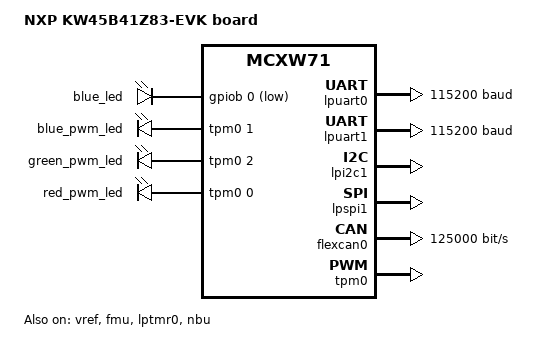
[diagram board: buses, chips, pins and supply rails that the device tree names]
/*
 * Copyright 2025 NXP
 * SPDX-License-Identifier: Apache-2.0
 */

/dts-v1/;

#include <nxp/nxp_mcxw71.dtsi>
#include "kw45b41z_evk-pinctrl.dtsi"

/ {
	model = "NXP KW45B41Z83-EVK board";
	compatible = "nxp,kw45";

	aliases {
		led0 = &blue_led;
		blue-pwm-led = &blue_pwm_led;
		green-pwm-led = &green_pwm_led;
		red-pwm-led = &red_pwm_led;
	};

	chosen {
		zephyr,flash = &flash;
		zephyr,flash-controller = &fmu;
		zephyr,code-partition = &slot0_partition;
		zephyr,sram = &stcm0;
		zephyr,console = &lpuart1;
		zephyr,shell-uart = &lpuart1;
		zephyr,uart-pipe = &lpuart0;
		zephyr,canbus = &flexcan0;
	};

	leds {
		compatible = "gpio-leds";
		blue_led: led {
			gpios = <&gpiob 0 GPIO_ACTIVE_LOW>;
		};
	};

	pwmleds {
		compatible = "pwm-leds";
		blue_pwm_led: pwm_led_0 {
			pwms = <&tpm0 1 PWM_USEC(200) PWM_POLARITY_NORMAL>;
		};
		green_pwm_led: pwm_led_1 {
			pwms = <&tpm0 2 PWM_USEC(200) PWM_POLARITY_NORMAL>;
		};
		red_pwm_led: pwm_led_2 {
			pwms = <&tpm0 0 PWM_USEC(200) PWM_POLARITY_NORMAL>;
		};
	};
};

&vref {
	status = "okay";
};

&gpiob {
	status = "okay";
};

&lpuart0 {
	current-speed = <115200>;
	status =  "okay";
	pinctrl-0 = <&pinmux_lpuart0>;
	pinctrl-names = "default";
};

&lpuart1 {
	current-speed = <115200>;
	status =  "okay";
	pinctrl-0 = <&pinmux_lpuart1>;
	pinctrl-names = "default";
};

&lpi2c1 {
	status = "okay";
	pinctrl-0 = <&pinmux_lpi2c1>;
	pinctrl-names = "default";
};

&lpspi1 {
	status = "okay";
	pinctrl-0 = <&pinmux_lpspi1>;
	pinctrl-names = "default";
};

&flexcan0 {
	status = "okay";
	bitrate = <125000>;
	pinctrl-0 = <&pinmux_flexcan>;
	pinctrl-names = "default";

	can-transceiver {
		max-bitrate = <420000000>;
	};
};

&flash {
	partitions {
		compatible = "fixed-partitions";
		#address-cells = <1>;
		#size-cells = <1>;

		boot_partition: partition@0 {
			reg = <0x0 DT_SIZE_K(64)>;
		};

		slot0_partition: partition@10000 {
			reg = <0x10000 DT_SIZE_K(416)>;
		};

		slot1_partition: partition@78000 {
			reg = <0x78000 DT_SIZE_K(416)>;
		};

		storage_partition: partition@e0000 {
			reg = <0xe0000 DT_SIZE_K(128)>;
		};
	};
};

&fmu {
	status = "okay";
};

&tpm0 {
	status = "okay";
	pinctrl-0 = <&pinmux_tpm0>;
	pinctrl-names = "default";
};

&lptmr0 {
	status = "okay";
};

&flexcan0 {
	status = "okay";
	pinctrl-0 = <&pinmux_flexcan>;
	pinctrl-names = "default";

	can-transceiver {
		max-bitrate = <5000000>;
	};
};

&nbu {
	status = "okay";
	wakeup-source;
};
